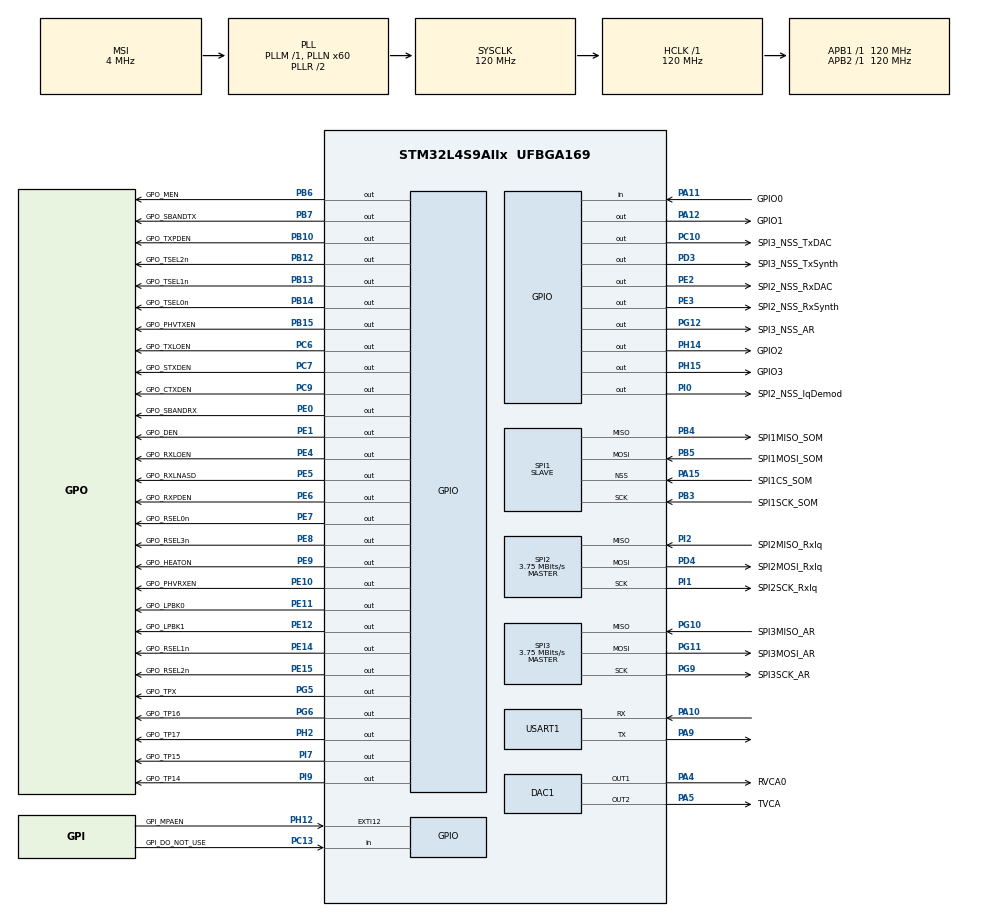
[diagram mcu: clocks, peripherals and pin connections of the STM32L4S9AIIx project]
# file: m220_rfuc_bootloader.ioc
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DAC1.DAC_Channel-DAC_OUT2=DAC_CHANNEL_2
Mcu.Family=STM32L4
Mcu.Name=STM32L4S9AIIx
Mcu.Package=UFBGA169
NVIC.EXTI15_10_IRQn=true\:5\:0\:true\:false\:true\:true\:true\:false
NVIC.FPU_IRQn=true\:7\:0\:true\:false\:true\:true\:false\:true
NVIC.PriorityGroup=NVIC_PRIORITYGROUP_4
NVIC.SPI2_IRQn=true\:7\:0\:true\:false\:true\:true\:true\:true
NVIC.SPI3_IRQn=true\:7\:0\:true\:false\:true\:true\:true\:true
NVIC.TIM3_IRQn=true\:15\:0\:false\:false\:true\:false\:true\:true
NVIC.TimeBase=TIM3_IRQn
NVIC.TimeBaseIP=TIM3
PA0.GPIO_Label=TXRPWR
PA0.Signal=ADCx_IN5
PA10.Mode=Asynchronous
PA10.Signal=USART1_RX
PA11.GPIO_Label=GPIO0
PA11.Signal=GPIO_Input
PA12.GPIO_Label=GPIO1
PA12.Signal=GPIO_Output
PA13\ (JTMS/SWDIO).GPIO_Label=SWDIO
PA13\ (JTMS/SWDIO).Mode=Serial_Wire
PA13\ (JTMS/SWDIO).Signal=SYS_JTMS-SWDIO
PA14\ (JTCK/SWCLK).GPIO_Label=SWDCLK
PA14\ (JTCK/SWCLK).Mode=Serial_Wire
PA14\ (JTCK/SWCLK).Signal=SYS_JTCK-SWCLK
PA15\ (JTDI).GPIO_Label=SPI1CS_SOM
PA15\ (JTDI).Mode=NSS_Signal_Hard_Input
PA15\ (JTDI).Signal=SPI1_NSS
PA2.GPIO_Label=CRTNSENSE
PA2.Signal=ADCx_IN7
PA4.GPIO_Label=RVCA0
PA4.Signal=COMP_DAC11_group
PA5.GPIO_Label=TVCA
PA5.Signal=COMP_DAC12_group
PA9.Mode=Asynchronous
PA9.Signal=USART1_TX
PB10.GPIO_Label=GPO_TXPDEN
PB10.PinState=GPIO_PIN_RESET
PB10.Signal=GPIO_Output
PB12.GPIO_Label=GPO_TSEL2n
PB12.PinState=GPIO_PIN_SET
PB12.Signal=GPIO_Output
PB13.GPIO_Label=GPO_TSEL1n
PB13.PinState=GPIO_PIN_RESET
PB13.Signal=GPIO_Output
PB14.GPIO_Label=GPO_TSEL0n
PB14.PinState=GPIO_PIN_SET
PB14.Signal=GPIO_Output
PB15.GPIO_Label=GPO_PHVTXEN
PB15.Signal=GPIO_Output
PB3\ (JTDO/TRACESWO).GPIO_Label=SPI1SCK_SOM
PB3\ (JTDO/TRACESWO).Mode=Full_Duplex_Slave
PB3\ (JTDO/TRACESWO).Signal=SPI1_SCK
PB4\ (NJTRST).GPIO_Label=SPI1MISO_SOM
PB4\ (NJTRST).Mode=Full_Duplex_Slave
PB4\ (NJTRST).Signal=SPI1_MISO
PB5.GPIO_Label=SPI1MOSI_SOM
PB5.Mode=Full_Duplex_Slave
PB5.Signal=SPI1_MOSI
PB6.GPIO_Label=GPO_MEN
PB6.Signal=GPIO_Output
PB7.GPIO_Label=GPO_SBANDTX
PB7.PinState=GPIO_PIN_SET
PB7.Signal=GPIO_Output
PC0.GPIO_Label=DMDTMP
PC0.Signal=ADCx_IN1
PC10.GPIO_Label=SPI3_NSS_TxDAC
PC10.PinState=GPIO_PIN_SET
PC10.Signal=GPIO_Output
PC13.GPIO_Label=GPI_DO_NOT_USE
PC13.Signal=GPIO_Input
PC2.GPIO_Label=P28VPA
PC2.Signal=ADCx_IN3
PC6.GPIO_Label=GPO_TXLOEN
PC6.Signal=GPIO_Output
PC7.GPIO_Label=GPO_STXDEN
PC7.Signal=GPIO_Output
PC9.GPIO_Label=GPO_CTXDEN
PC9.Signal=GPIO_Output
PD3.GPIO_Label=SPI3_NSS_TxSynth
PD3.PinState=GPIO_PIN_SET
PD3.Signal=GPIO_Output
PD4.GPIO_Label=SPI2MOSI_RxIq
PD4.Mode=Full_Duplex_Master
PD4.Signal=SPI2_MOSI
PE0.GPIO_Label=GPO_SBANDRX
PE0.PinState=GPIO_PIN_SET
PE0.Signal=GPIO_Output
PE1.GPIO_Label=GPO_DEN
PE1.Signal=GPIO_Output
PE10.GPIO_Label=GPO_PHVRXEN
PE10.Signal=GPIO_Output
PE11.GPIO_Label=GPO_LPBK0
PE11.PinState=GPIO_PIN_SET
PE11.Signal=GPIO_Output
PE12.GPIO_Label=GPO_LPBK1
PE12.Signal=GPIO_Output
PE14.GPIO_Label=GPO_RSEL1n
PE14.PinState=GPIO_PIN_RESET
PE14.Signal=GPIO_Output
PE15.GPIO_Label=GPO_RSEL2n
PE15.PinState=GPIO_PIN_SET
PE15.Signal=GPIO_Output
PE2.GPIO_Label=SPI2_NSS_RxDAC
PE2.PinState=GPIO_PIN_SET
PE2.Signal=GPIO_Output
PE3.GPIO_Label=SPI2_NSS_RxSynth
PE3.PinState=GPIO_PIN_SET
PE3.Signal=GPIO_Output
PE4.GPIO_Label=GPO_RXLOEN
PE4.Signal=GPIO_Output
PE5.GPIO_Label=GPO_RXLNASD
PE5.PinState=GPIO_PIN_SET
PE5.Signal=GPIO_Output
PE6.GPIO_Label=GPO_RXPDEN
PE6.PinState=GPIO_PIN_SET
PE6.Signal=GPIO_Output
PE7.GPIO_Label=GPO_RSEL0n
PE7.PinState=GPIO_PIN_SET
PE7.Signal=GPIO_Output
PE8.GPIO_Label=GPO_RSEL3n
PE8.PinState=GPIO_PIN_SET
PE8.Signal=GPIO_Output
PE9.GPIO_Label=GPO_HEATON
PE9.Signal=GPIO_Output
PG10.GPIO_Label=SPI3MISO_AR
PG10.Mode=Full_Duplex_Master
PG10.Signal=SPI3_MISO
PG11.GPIO_Label=SPI3MOSI_AR
PG11.Mode=Full_Duplex_Master
PG11.Signal=SPI3_MOSI
PG12.GPIO_Label=SPI3_NSS_AR
PG12.PinState=GPIO_PIN_SET
PG12.Signal=GPIO_Output
PG5.GPIO_Label=GPO_TPX
PG5.Signal=GPIO_Output
PG6.GPIO_Label=GPO_TP16
PG6.Signal=GPIO_Output
PG8.GPIO_Label=I2C3SDA_EEPROM
PG8.GPIO_Pu=GPIO_PULLUP
PG8.Signal=I2C3_SDA
PG9.GPIO_Label=SPI3SCK_AR
PG9.Mode=Full_Duplex_Master
PG9.Signal=SPI3_SCK
PH12.GPIO_Label=GPI_MPAEN
PH12.GPIO_ModeDefaultEXTI=GPIO_MODE_IT_RISING_FALLING
PH12.Signal=GPXTI12
PH14.GPIO_Label=GPIO2
PH14.PinState=GPIO_PIN_RESET
PH14.Signal=GPIO_Output
PH15.GPIO_Label=GPIO3
PH15.Signal=GPIO_Output
PH2.GPIO_Label=GPO_TP17
PH2.Signal=GPIO_Output
PI0.GPIO_Label=SPI2_NSS_IqDemod
PI0.PinState=GPIO_PIN_SET
PI0.Signal=GPIO_Output
PI1.GPIO_Label=SPI2SCK_RxIq
PI1.Mode=Full_Duplex_Master
PI1.Signal=SPI2_SCK
PI2.GPIO_Label=SPI2MISO_RxIq
PI2.Mode=Full_Duplex_Master
PI2.Signal=SPI2_MISO
PI7.GPIO_Label=GPO_TP15
PI7.Signal=GPIO_Output
PI9.GPIO_Label=GPO_TP14
PI9.Signal=GPIO_Output
ProjectManager.HeapSize=0x200
ProjectManager.StackSize=0x400
ProjectManager.TargetToolchain=STM32CubeIDE
RCC.ADCFreq_Value=32000000
RCC.AHBFreq_Value=120000000
RCC.APB1Freq_Value=120000000
RCC.APB1TimFreq_Value=120000000
RCC.APB2Freq_Value=120000000
RCC.APB2TimFreq_Value=120000000
RCC.CortexFreq_Value=120000000
RCC.HCLKFreq_Value=120000000
RCC.HSE_VALUE=8000000
RCC.HSI48_VALUE=48000000
RCC.HSI_VALUE=16000000
RCC.LSE_VALUE=32768
RCC.MSI_VALUE=4000000
RCC.PLLN=60
RCC.PLLSAI1N=16
RCC.SYSCLKFreq_VALUE=120000000
RCC.SYSCLKSource=RCC_SYSCLKSOURCE_PLLCLK
RCC.USBFreq_Value=32000000
RCC.VCOOutputFreq_Value=240000000
SH.ADCx_IN1.0=ADC1_IN1
SH.ADCx_IN3.0=ADC1_IN3
SH.ADCx_IN5.0=ADC1_IN5
SH.ADCx_IN7.0=ADC1_IN7
SH.COMP_DAC11_group.0=DAC1_OUT1,DAC_OUT1
SH.COMP_DAC12_group.0=DAC1_OUT2,DAC_OUT2
SPI1.CLKPhase=SPI_PHASE_1EDGE
SPI1.CLKPolarity=SPI_POLARITY_LOW
SPI1.DataSize=SPI_DATASIZE_8BIT
SPI1.Direction=SPI_DIRECTION_2LINES
SPI1.Mode=SPI_MODE_SLAVE
SPI1.VirtualNSS=VM_NSSHARD
SPI1.VirtualType=VM_SLAVE
SPI2.BaudRatePrescaler=SPI_BAUDRATEPRESCALER_32
SPI2.CalculateBaudRate=3.75 MBits/s
SPI2.DataSize=SPI_DATASIZE_8BIT
SPI2.Direction=SPI_DIRECTION_2LINES
SPI2.Mode=SPI_MODE_MASTER
SPI2.NSSPMode=SPI_NSS_PULSE_DISABLE
SPI2.VirtualType=VM_MASTER
SPI3.BaudRatePrescaler=SPI_BAUDRATEPRESCALER_32
SPI3.CLKPhase=SPI_PHASE_1EDGE
SPI3.CLKPolarity=SPI_POLARITY_LOW
SPI3.CalculateBaudRate=3.75 MBits/s
SPI3.DataSize=SPI_DATASIZE_8BIT
SPI3.Direction=SPI_DIRECTION_2LINES
SPI3.Mode=SPI_MODE_MASTER
SPI3.NSSPMode=SPI_NSS_PULSE_DISABLE
SPI3.VirtualType=VM_MASTER
SYS.VoltageScaling=SYSCFG_VREFBUF_VOLTAGE_SCALE1
USART1.FIFOMode=FIFOMODE_ENABLE
USART1.VirtualMode-Asynchronous=VM_ASYNC
VP_SYS_VS_tim3.Mode=TIM3
VREF+.Mode=InternalMode
VREF+.Signal=VREFBUF_OUT
board=custom

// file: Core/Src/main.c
/* USER CODE BEGIN Header */
/**
  ******************************************************************************
  * @file           : main.c
  * @brief          : Main program body
  ******************************************************************************
  */
/* USER CODE END Header */
#include "main.h"

/* USER CODE BEGIN Includes */
#include "stdbool.h"
#include "app_openbootloader.h"
#include "interfaces_conf.h"
#include "spi_interface.h"
#include "stm32l4xx_it.h"
#include "openbl_spi_cmd.h"
#include "stdarg.h"
#include "string.h"
#include "stdio.h"
/* USER CODE END Includes */

DAC_HandleTypeDef hdac1;

SPI_HandleTypeDef hspi1;
SPI_HandleTypeDef hspi2;
SPI_HandleTypeDef hspi3;

UART_HandleTypeDef huart1;

/* USER CODE BEGIN PV */

extern TIM_HandleTypeDef htim3;

/* USER CODE END PV */

void SystemClock_Config(void);
static void MX_GPIO_Init(void);
static void MX_DAC1_Init(void);
static void MX_SPI1_Init(void);
static void MX_SPI2_Init(void);
static void MX_SPI3_Init(void);
static void MX_USART1_UART_Init(void);
/* USER CODE BEGIN PFP */

void PRINTF(const char *format, ...);
void SetRFBoardToSafeState(void);
uint32_t mVTo12bitDigitalOutput(uint32_t milliVolt);
uint32_t mVTo12bitDigitalOutput_Halfx(uint32_t milliVolt);
void Spi2_UpdateRxDac(ExternDacChannel_e Channel, uint16_t DacValue);
void Spi3_UpdateTxDac(ExternDacChannel_e Channel, uint16_t DacValue);

/* USER CODE END PFP */

int main(void)
{

  /* MCU Configuration--------------------------------------------------------*/

  /* Reset of all peripherals, Initializes the Flash interface and the Systick. */
  HAL_Init();

  /* Configure the system clock */
  SystemClock_Config();

  /* Initialize all configured peripherals */
  MX_GPIO_Init();
  MX_DAC1_Init();
  MX_SPI1_Init();
  MX_SPI2_Init();
  MX_SPI3_Init();
  MX_USART1_UART_Init();
  /* USER CODE BEGIN 2 */

  // Initialize RF Board Hardware to Safe State
  SetRFBoardToSafeState();

  /* Initialize the OpenBootloader */
  OpenBootloader_Init();

  PRINTF("\033[2J"); // Clear the terminal
  PRINTF("\033[s\033[1;1H"); // Save cursor position, return to top left corner
  PRINTF("Running Bootloader Version %d.%d ...\n\r", ((OPENBL_SPI_VERSION >> 4) & 0x0F), (OPENBL_SPI_VERSION & 0x0F));

  // Alert SOM that the RFB is in a safe state and we're ready to bootload
  HAL_GPIO_WritePin(GPIO1_GPIO_Port, GPIO1_Pin, GPIO_PIN_SET);

  while(OPENBL_SPI_ReadByte() != 0x5AU){} // Blocking call -> Wait for SOM to be ready

  SPI_SetSpiDetected(1U);
  OPENBL_SPI_SendByte(SYNC_BYTE); // Send synchronization byte
  OPENBL_SPI_SendAcknowledgeByte(ACK_BYTE); // Send acknowledgment
  OPENBL_InterfaceDetection();
  HAL_GPIO_WritePin(GPIO1_GPIO_Port, GPIO1_Pin, GPIO_PIN_RESET); // Deassert busy flag until needed again
  /* USER CODE END 2 */

  /* Infinite loop */
  /* USER CODE BEGIN WHILE */
  while (1){
    // Process the commands from the detected interface
    OPENBL_CommandProcess();
    /* USER CODE END WHILE */

  }
}

void SystemClock_Config(void)
{
  RCC_OscInitTypeDef RCC_OscInitStruct = {0};
  RCC_ClkInitTypeDef RCC_ClkInitStruct = {0};

  /** Configure the main internal regulator output voltage
  */
  if (HAL_PWREx_ControlVoltageScaling(PWR_REGULATOR_VOLTAGE_SCALE1_BOOST) != HAL_OK)
  {
    Error_Handler();
  }

  /** Initializes the RCC Oscillators according to the specified parameters
  * in the RCC_OscInitTypeDef structure.
  */
  RCC_OscInitStruct.OscillatorType = RCC_OSCILLATORTYPE_MSI;
  RCC_OscInitStruct.MSIState = RCC_MSI_ON;
  RCC_OscInitStruct.MSICalibrationValue = 0;
  RCC_OscInitStruct.MSIClockRange = RCC_MSIRANGE_6;
  RCC_OscInitStruct.PLL.PLLState = RCC_PLL_ON;
  RCC_OscInitStruct.PLL.PLLSource = RCC_PLLSOURCE_MSI;
  RCC_OscInitStruct.PLL.PLLM = 1;
  RCC_OscInitStruct.PLL.PLLN = 60;
  RCC_OscInitStruct.PLL.PLLP = RCC_PLLP_DIV2;
  RCC_OscInitStruct.PLL.PLLQ = RCC_PLLQ_DIV2;
  RCC_OscInitStruct.PLL.PLLR = RCC_PLLR_DIV2;
  if (HAL_RCC_OscConfig(&RCC_OscInitStruct) != HAL_OK)
  {
    Error_Handler();
  }

  /** Initializes the CPU, AHB and APB buses clocks
  */
  RCC_ClkInitStruct.ClockType = RCC_CLOCKTYPE_HCLK|RCC_CLOCKTYPE_SYSCLK
                              |RCC_CLOCKTYPE_PCLK1|RCC_CLOCKTYPE_PCLK2;
  RCC_ClkInitStruct.SYSCLKSource = RCC_SYSCLKSOURCE_PLLCLK;
  RCC_ClkInitStruct.AHBCLKDivider = RCC_SYSCLK_DIV1;
  RCC_ClkInitStruct.APB1CLKDivider = RCC_HCLK_DIV1;
  RCC_ClkInitStruct.APB2CLKDivider = RCC_HCLK_DIV1;

  if (HAL_RCC_ClockConfig(&RCC_ClkInitStruct, FLASH_LATENCY_5) != HAL_OK)
  {
    Error_Handler();
  }
}

static void MX_DAC1_Init(void)
{

  DAC_ChannelConfTypeDef sConfig = {0};

  /** DAC Initialization
  */
  hdac1.Instance = DAC1;
  if (HAL_DAC_Init(&hdac1) != HAL_OK)
  {
    Error_Handler();
  }

  /** DAC channel OUT1 config
  */
  sConfig.DAC_SampleAndHold = DAC_SAMPLEANDHOLD_DISABLE;
  sConfig.DAC_Trigger = DAC_TRIGGER_NONE;
  sConfig.DAC_HighFrequency = DAC_HIGH_FREQUENCY_INTERFACE_MODE_ABOVE_80MHZ;
  sConfig.DAC_OutputBuffer = DAC_OUTPUTBUFFER_ENABLE;
  sConfig.DAC_ConnectOnChipPeripheral = DAC_CHIPCONNECT_DISABLE;
  sConfig.DAC_UserTrimming = DAC_TRIMMING_FACTORY;
  if (HAL_DAC_ConfigChannel(&hdac1, &sConfig, DAC_CHANNEL_1) != HAL_OK)
  {
    Error_Handler();
  }

  /** DAC channel OUT2 config
  */
  if (HAL_DAC_ConfigChannel(&hdac1, &sConfig, DAC_CHANNEL_2) != HAL_OK)
  {
    Error_Handler();
  }

}

static void MX_SPI1_Init(void)
{

  /* SPI1 parameter configuration*/
  hspi1.Instance = SPI1;
  hspi1.Init.Mode = SPI_MODE_SLAVE;
  hspi1.Init.Direction = SPI_DIRECTION_2LINES;
  hspi1.Init.DataSize = SPI_DATASIZE_8BIT;
  hspi1.Init.CLKPolarity = SPI_POLARITY_LOW;
  hspi1.Init.CLKPhase = SPI_PHASE_1EDGE;
  hspi1.Init.NSS = SPI_NSS_HARD_INPUT;
  hspi1.Init.FirstBit = SPI_FIRSTBIT_MSB;
  hspi1.Init.TIMode = SPI_TIMODE_DISABLE;
  hspi1.Init.CRCCalculation = SPI_CRCCALCULATION_DISABLE;
  hspi1.Init.CRCPolynomial = 7;
  hspi1.Init.CRCLength = SPI_CRC_LENGTH_DATASIZE;
  hspi1.Init.NSSPMode = SPI_NSS_PULSE_DISABLE;
  if (HAL_SPI_Init(&hspi1) != HAL_OK)
  {
    Error_Handler();
  }

}

static void MX_SPI2_Init(void)
{

  /* SPI2 parameter configuration*/
  hspi2.Instance = SPI2;
  hspi2.Init.Mode = SPI_MODE_MASTER;
  hspi2.Init.Direction = SPI_DIRECTION_2LINES;
  hspi2.Init.DataSize = SPI_DATASIZE_8BIT;
  hspi2.Init.CLKPolarity = SPI_POLARITY_LOW;
  hspi2.Init.CLKPhase = SPI_PHASE_1EDGE;
  hspi2.Init.NSS = SPI_NSS_SOFT;
  hspi2.Init.BaudRatePrescaler = SPI_BAUDRATEPRESCALER_32;
  hspi2.Init.FirstBit = SPI_FIRSTBIT_MSB;
  hspi2.Init.TIMode = SPI_TIMODE_DISABLE;
  hspi2.Init.CRCCalculation = SPI_CRCCALCULATION_DISABLE;
  hspi2.Init.CRCPolynomial = 7;
  hspi2.Init.CRCLength = SPI_CRC_LENGTH_DATASIZE;
  hspi2.Init.NSSPMode = SPI_NSS_PULSE_DISABLE;
  if (HAL_SPI_Init(&hspi2) != HAL_OK)
  {
    Error_Handler();
  }

}

static void MX_SPI3_Init(void)
{

  /* SPI3 parameter configuration*/
  hspi3.Instance = SPI3;
  hspi3.Init.Mode = SPI_MODE_MASTER;
  hspi3.Init.Direction = SPI_DIRECTION_2LINES;
  hspi3.Init.DataSize = SPI_DATASIZE_8BIT;
  hspi3.Init.CLKPolarity = SPI_POLARITY_LOW;
  hspi3.Init.CLKPhase = SPI_PHASE_1EDGE;
  hspi3.Init.NSS = SPI_NSS_SOFT;
  hspi3.Init.BaudRatePrescaler = SPI_BAUDRATEPRESCALER_32;
  hspi3.Init.FirstBit = SPI_FIRSTBIT_MSB;
  hspi3.Init.TIMode = SPI_TIMODE_DISABLE;
  hspi3.Init.CRCCalculation = SPI_CRCCALCULATION_DISABLE;
  hspi3.Init.CRCPolynomial = 7;
  hspi3.Init.CRCLength = SPI_CRC_LENGTH_DATASIZE;
  hspi3.Init.NSSPMode = SPI_NSS_PULSE_DISABLE;
  if (HAL_SPI_Init(&hspi3) != HAL_OK)
  {
    Error_Handler();
  }

}

static void MX_USART1_UART_Init(void)
{

  huart1.Instance = USART1;
  huart1.Init.BaudRate = 115200;
  huart1.Init.WordLength = UART_WORDLENGTH_8B;
  huart1.Init.StopBits = UART_STOPBITS_1;
  huart1.Init.Parity = UART_PARITY_NONE;
  huart1.Init.Mode = UART_MODE_TX_RX;
  huart1.Init.HwFlowCtl = UART_HWCONTROL_NONE;
  huart1.Init.OverSampling = UART_OVERSAMPLING_16;
  huart1.Init.OneBitSampling = UART_ONE_BIT_SAMPLE_DISABLE;
  huart1.Init.ClockPrescaler = UART_PRESCALER_DIV1;
  huart1.AdvancedInit.AdvFeatureInit = UART_ADVFEATURE_NO_INIT;
  if (HAL_UART_Init(&huart1) != HAL_OK)
  {
    Error_Handler();
  }
  if (HAL_UARTEx_SetTxFifoThreshold(&huart1, UART_TXFIFO_THRESHOLD_1_8) != HAL_OK)
  {
    Error_Handler();
  }
  if (HAL_UARTEx_SetRxFifoThreshold(&huart1, UART_RXFIFO_THRESHOLD_1_8) != HAL_OK)
  {
    Error_Handler();
  }
  if (HAL_UARTEx_EnableFifoMode(&huart1) != HAL_OK)
  {
    Error_Handler();
  }

}

static void MX_GPIO_Init(void)
{
  GPIO_InitTypeDef GPIO_InitStruct = {0};

  /* GPIO Ports Clock Enable */
  __HAL_RCC_GPIOH_CLK_ENABLE();
  __HAL_RCC_GPIOE_CLK_ENABLE();
  __HAL_RCC_GPIOB_CLK_ENABLE();
  __HAL_RCC_GPIOA_CLK_ENABLE();
  __HAL_RCC_GPIOI_CLK_ENABLE();
  __HAL_RCC_GPIOG_CLK_ENABLE();
  HAL_PWREx_EnableVddIO2();
  __HAL_RCC_GPIOD_CLK_ENABLE();
  __HAL_RCC_GPIOC_CLK_ENABLE();

  /*Configure GPIO pin Output Level */
  HAL_GPIO_WritePin(GPIOH, GPO_TP17_Pin|GPIO2_Pin|GPIO3_Pin, GPIO_PIN_RESET);

  /*Configure GPIO pin Output Level */
  HAL_GPIO_WritePin(GPIOE, GPO_SBANDRX_Pin|SPI2_NSS_RxSynth_Pin|SPI2_NSS_RxDAC_Pin|GPO_RXPDEN_Pin
                          |GPO_RXLNASD_Pin|GPO_RSEL2n_Pin|GPO_RSEL3n_Pin|GPO_RSEL0n_Pin
                          |GPO_LPBK0_Pin, GPIO_PIN_SET);

  /*Configure GPIO pin Output Level */
  HAL_GPIO_WritePin(SPI2_NSS_IqDemod_GPIO_Port, SPI2_NSS_IqDemod_Pin, GPIO_PIN_SET);

  /*Configure GPIO pin Output Level */
  HAL_GPIO_WritePin(GPIOI, GPO_TP14_Pin|GPO_TP15_Pin, GPIO_PIN_RESET);

  /*Configure GPIO pin Output Level */
  HAL_GPIO_WritePin(GPIOE, GPO_DEN_Pin|GPO_RXLOEN_Pin|GPO_PHVRXEN_Pin|GPO_HEATON_Pin
                          |GPO_RSEL1n_Pin|GPO_LPBK1_Pin, GPIO_PIN_RESET);

  /*Configure GPIO pin Output Level */
  HAL_GPIO_WritePin(GPIOB, GPO_MEN_Pin|GPO_PHVTXEN_Pin|GPO_TXPDEN_Pin|GPO_TSEL1n_Pin, GPIO_PIN_RESET);

  /*Configure GPIO pin Output Level */
  HAL_GPIO_WritePin(GPIOB, GPO_SBANDTX_Pin|GPO_TSEL0n_Pin|GPO_TSEL2n_Pin, GPIO_PIN_SET);

  /*Configure GPIO pin Output Level */
  HAL_GPIO_WritePin(SPI3_NSS_TxDAC_GPIO_Port, SPI3_NSS_TxDAC_Pin, GPIO_PIN_SET);

  /*Configure GPIO pin Output Level */
  HAL_GPIO_WritePin(GPIO1_GPIO_Port, GPIO1_Pin, GPIO_PIN_RESET);

  /*Configure GPIO pin Output Level */
  HAL_GPIO_WritePin(SPI3_NSS_TxSynth_GPIO_Port, SPI3_NSS_TxSynth_Pin, GPIO_PIN_SET);

  /*Configure GPIO pin Output Level */
  HAL_GPIO_WritePin(SPI3_NSS_AR_GPIO_Port, SPI3_NSS_AR_Pin, GPIO_PIN_SET);

  /*Configure GPIO pin Output Level */
  HAL_GPIO_WritePin(GPIOC, GPO_TXLOEN_Pin|GPO_STXDEN_Pin|GPO_CTXDEN_Pin, GPIO_PIN_RESET);

  /*Configure GPIO pin Output Level */
  HAL_GPIO_WritePin(GPIOG, GPO_TPX_Pin|GPO_TP16_Pin, GPIO_PIN_RESET);

  /*Configure GPIO pins : GPO_TP17_Pin GPIO2_Pin GPIO3_Pin */
  GPIO_InitStruct.Pin = GPO_TP17_Pin|GPIO2_Pin|GPIO3_Pin;
  GPIO_InitStruct.Mode = GPIO_MODE_OUTPUT_PP;
  GPIO_InitStruct.Pull = GPIO_NOPULL;
  GPIO_InitStruct.Speed = GPIO_SPEED_FREQ_LOW;
  HAL_GPIO_Init(GPIOH, &GPIO_InitStruct);

  /*Configure GPIO pins : GPO_SBANDRX_Pin GPO_DEN_Pin GPO_RXLOEN_Pin SPI2_NSS_RxSynth_Pin
                           SPI2_NSS_RxDAC_Pin GPO_RXPDEN_Pin GPO_RXLNASD_Pin GPO_PHVRXEN_Pin
                           GPO_HEATON_Pin GPO_RSEL2n_Pin GPO_RSEL3n_Pin GPO_RSEL1n_Pin
                           GPO_RSEL0n_Pin GPO_LPBK1_Pin GPO_LPBK0_Pin */
  GPIO_InitStruct.Pin = GPO_SBANDRX_Pin|GPO_DEN_Pin|GPO_RXLOEN_Pin|SPI2_NSS_RxSynth_Pin
                          |SPI2_NSS_RxDAC_Pin|GPO_RXPDEN_Pin|GPO_RXLNASD_Pin|GPO_PHVRXEN_Pin
                          |GPO_HEATON_Pin|GPO_RSEL2n_Pin|GPO_RSEL3n_Pin|GPO_RSEL1n_Pin
                          |GPO_RSEL0n_Pin|GPO_LPBK1_Pin|GPO_LPBK0_Pin;
  GPIO_InitStruct.Mode = GPIO_MODE_OUTPUT_PP;
  GPIO_InitStruct.Pull = GPIO_NOPULL;
  GPIO_InitStruct.Speed = GPIO_SPEED_FREQ_LOW;
  HAL_GPIO_Init(GPIOE, &GPIO_InitStruct);

  /*Configure GPIO pins : SPI2_NSS_IqDemod_Pin GPO_TP14_Pin GPO_TP15_Pin */
  GPIO_InitStruct.Pin = SPI2_NSS_IqDemod_Pin|GPO_TP14_Pin|GPO_TP15_Pin;
  GPIO_InitStruct.Mode = GPIO_MODE_OUTPUT_PP;
  GPIO_InitStruct.Pull = GPIO_NOPULL;
  GPIO_InitStruct.Speed = GPIO_SPEED_FREQ_LOW;
  HAL_GPIO_Init(GPIOI, &GPIO_InitStruct);

  /*Configure GPIO pin : GPI_MPAEN_Pin */
  GPIO_InitStruct.Pin = GPI_MPAEN_Pin;
  GPIO_InitStruct.Mode = GPIO_MODE_IT_RISING_FALLING;
  GPIO_InitStruct.Pull = GPIO_NOPULL;
  HAL_GPIO_Init(GPI_MPAEN_GPIO_Port, &GPIO_InitStruct);

  /*Configure GPIO pins : GPO_MEN_Pin GPO_SBANDTX_Pin GPO_PHVTXEN_Pin GPO_TSEL0n_Pin
                           GPO_TXPDEN_Pin GPO_TSEL2n_Pin GPO_TSEL1n_Pin */
  GPIO_InitStruct.Pin = GPO_MEN_Pin|GPO_SBANDTX_Pin|GPO_PHVTXEN_Pin|GPO_TSEL0n_Pin
                          |GPO_TXPDEN_Pin|GPO_TSEL2n_Pin|GPO_TSEL1n_Pin;
  GPIO_InitStruct.Mode = GPIO_MODE_OUTPUT_PP;
  GPIO_InitStruct.Pull = GPIO_NOPULL;
  GPIO_InitStruct.Speed = GPIO_SPEED_FREQ_LOW;
  HAL_GPIO_Init(GPIOB, &GPIO_InitStruct);

  /*Configure GPIO pins : SPI3_NSS_TxDAC_Pin GPO_TXLOEN_Pin GPO_STXDEN_Pin GPO_CTXDEN_Pin */
  GPIO_InitStruct.Pin = SPI3_NSS_TxDAC_Pin|GPO_TXLOEN_Pin|GPO_STXDEN_Pin|GPO_CTXDEN_Pin;
  GPIO_InitStruct.Mode = GPIO_MODE_OUTPUT_PP;
  GPIO_InitStruct.Pull = GPIO_NOPULL;
  GPIO_InitStruct.Speed = GPIO_SPEED_FREQ_LOW;
  HAL_GPIO_Init(GPIOC, &GPIO_InitStruct);

  /*Configure GPIO pin : GPIO1_Pin */
  GPIO_InitStruct.Pin = GPIO1_Pin;
  GPIO_InitStruct.Mode = GPIO_MODE_OUTPUT_PP;
  GPIO_InitStruct.Pull = GPIO_NOPULL;
  GPIO_InitStruct.Speed = GPIO_SPEED_FREQ_LOW;
  HAL_GPIO_Init(GPIO1_GPIO_Port, &GPIO_InitStruct);

  /*Configure GPIO pin : GPI_DO_NOT_USE_Pin */
  GPIO_InitStruct.Pin = GPI_DO_NOT_USE_Pin;
  GPIO_InitStruct.Mode = GPIO_MODE_INPUT;
  GPIO_InitStruct.Pull = GPIO_NOPULL;
  HAL_GPIO_Init(GPI_DO_NOT_USE_GPIO_Port, &GPIO_InitStruct);

  /*Configure GPIO pin : SPI3_NSS_TxSynth_Pin */
  GPIO_InitStruct.Pin = SPI3_NSS_TxSynth_Pin;
  GPIO_InitStruct.Mode = GPIO_MODE_OUTPUT_PP;
  GPIO_InitStruct.Pull = GPIO_NOPULL;
  GPIO_InitStruct.Speed = GPIO_SPEED_FREQ_LOW;
  HAL_GPIO_Init(SPI3_NSS_TxSynth_GPIO_Port, &GPIO_InitStruct);

  /*Configure GPIO pin : GPIO0_Pin */
  GPIO_InitStruct.Pin = GPIO0_Pin;
  GPIO_InitStruct.Mode = GPIO_MODE_INPUT;
  GPIO_InitStruct.Pull = GPIO_NOPULL;
  HAL_GPIO_Init(GPIO0_GPIO_Port, &GPIO_InitStruct);

  /*Configure GPIO pins : SPI3_NSS_AR_Pin GPO_TPX_Pin GPO_TP16_Pin */
  GPIO_InitStruct.Pin = SPI3_NSS_AR_Pin|GPO_TPX_Pin|GPO_TP16_Pin;
  GPIO_InitStruct.Mode = GPIO_MODE_OUTPUT_PP;
  GPIO_InitStruct.Pull = GPIO_NOPULL;
  GPIO_InitStruct.Speed = GPIO_SPEED_FREQ_LOW;
  HAL_GPIO_Init(GPIOG, &GPIO_InitStruct);

  /*Configure GPIO pin : I2C3SDA_EEPROM_Pin */
  GPIO_InitStruct.Pin = I2C3SDA_EEPROM_Pin;
  GPIO_InitStruct.Mode = GPIO_MODE_AF_OD;
  GPIO_InitStruct.Pull = GPIO_PULLUP;
  GPIO_InitStruct.Speed = GPIO_SPEED_FREQ_VERY_HIGH;
  GPIO_InitStruct.Alternate = GPIO_AF4_I2C3;
  HAL_GPIO_Init(I2C3SDA_EEPROM_GPIO_Port, &GPIO_InitStruct);

  /*Configure GPIO pins : DMDTMP_Pin P28VPA_Pin */
  GPIO_InitStruct.Pin = DMDTMP_Pin|P28VPA_Pin;
  GPIO_InitStruct.Mode = GPIO_MODE_ANALOG_ADC_CONTROL;
  GPIO_InitStruct.Pull = GPIO_NOPULL;
  HAL_GPIO_Init(GPIOC, &GPIO_InitStruct);

  /*Configure GPIO pins : TXRPWR_Pin CRTNSENSE_Pin */
  GPIO_InitStruct.Pin = TXRPWR_Pin|CRTNSENSE_Pin;
  GPIO_InitStruct.Mode = GPIO_MODE_ANALOG_ADC_CONTROL;
  GPIO_InitStruct.Pull = GPIO_NOPULL;
  HAL_GPIO_Init(GPIOA, &GPIO_InitStruct);

  /* EXTI interrupt init*/
  HAL_NVIC_SetPriority(EXTI15_10_IRQn, 5, 0);

}

/* USER CODE BEGIN 4 */

void PRINTF(const char *format, ...){
	va_list ap;
	char bufferLocal[255]={0}; // print up to 254 characters per PRINTF

	va_start(ap, format);
	vsnprintf((char *)bufferLocal, 255, format, ap);
	va_end(ap);

	HAL_UART_Transmit(&huart1, (uint8_t *)bufferLocal, strlen(bufferLocal), 100);
}

void SetRFBoardToSafeState(void){
	char DeviceData[4];

	// Initialize and Enable RFuC DACs
	HAL_DAC_SetValue(&hdac1, DAC_CHANNEL_1, DAC_ALIGN_12B_R, mVTo12bitDigitalOutput(2000)); // initialize RVCA0 to 2V
	HAL_DAC_SetValue(&hdac1, DAC_CHANNEL_2, DAC_ALIGN_12B_R, mVTo12bitDigitalOutput(2000)); // initialize TVCA to 26mV
	HAL_DAC_Start(&hdac1, DAC_CHANNEL_1); // RVCA0
	HAL_DAC_Start(&hdac1, DAC_CHANNEL_2); // TVCA

	// Enable the External Rx DAC's internal 2.5V reference voltage
	DeviceData[0] = 0x08;
	DeviceData[1] = 0x00;
	DeviceData[2] = 0x00;
	DeviceData[3] = 0x01;
	HAL_GPIO_WritePin(SPI2_NSS_RxDAC_GPIO_Port, SPI2_NSS_RxDAC_Pin, GPIO_PIN_RESET); // SPI2 CS -> RxDAC
	HAL_SPI_Transmit(&hspi2, (uint8_t *)DeviceData, 4, 100);
	HAL_GPIO_WritePin(SPI2_NSS_RxDAC_GPIO_Port, SPI2_NSS_RxDAC_Pin, GPIO_PIN_SET); // SPI2 CS -> RxDAC
	HAL_Delay(1); // Delay in milliseconds

	// Initialize External RxDAC Channels
	Spi2_UpdateRxDac(DAC_CHANNEL_A, mVTo12bitDigitalOutput_Halfx(5000)); // Init Channel A (TP18) to 5000mV
	//Spi2_UpdateRxDac(DAC_CHANNEL_B, mVTo12bitDigitalOutput_Halfx(0)); // Init Channel B (TP22) to 0mV
	Spi2_UpdateRxDac(DAC_CHANNEL_C, mVTo12bitDigitalOutput_Halfx(0)); // Init Channel C (TP19) to 0mV
	//Spi2_UpdateRxDac(DAC_CHANNEL_D, mVTo12bitDigitalOutput_Halfx(0)); // Init Channel D (TP21) to 0mV
	Spi2_UpdateRxDac(DAC_CHANNEL_E, mVTo12bitDigitalOutput_Halfx(0)); // Init Channel E (TP20) to 0mV
	//Spi2_UpdateRxDac(DAC_CHANNEL_F, mVTo12bitDigitalOutput_Halfx(0)); // Init Channel F (RXTUNE) to 0mV
	Spi2_UpdateRxDac(DAC_CHANNEL_G, mVTo12bitDigitalOutput_Halfx(2000)); // Init Channel G (RVCA1) to 2000mV
	//Spi2_UpdateRxDac(DAC_CHANNEL_H, mVTo12bitDigitalOutput_Halfx(0)); // Init Channel H (VTUNE) to 0mV

	// Enable the External Tx DAC's internal 2.5V reference voltage
	DeviceData[0] = 0x08;
	DeviceData[1] = 0x00;
	DeviceData[2] = 0x00;
	DeviceData[3] = 0x01;
	HAL_GPIO_WritePin(SPI3_NSS_TxDAC_GPIO_Port, SPI3_NSS_TxDAC_Pin, GPIO_PIN_RESET); // SPI3 CS -> TxDAC
	HAL_SPI_Transmit(&hspi3, (uint8_t *)DeviceData, 4, 100);
	HAL_GPIO_WritePin(SPI3_NSS_TxDAC_GPIO_Port, SPI3_NSS_TxDAC_Pin, GPIO_PIN_SET); // SPI3 CS -> TxDAC
	HAL_Delay(1); // Delay in milliseconds

	// --- Initialize External TxDAC Channels ---
	Spi3_UpdateTxDac(DAC_CHANNEL_A, mVTo12bitDigitalOutput_Halfx(5000)); // Bit 12 (PBA6; RxDAC-A) to 5000mV
	//Spi3_UpdateTxDac(DAC_CHANNEL_B, mVTo12bitDigitalOutput_Halfx(0)); // Init Channel B (MLIN) to 0mV
	Spi3_UpdateTxDac(DAC_CHANNEL_C, mVTo12bitDigitalOutput_Halfx(5000)); // Bit 11 (PBA5; RxDAC-C) to 5000mV
	//Spi3_UpdateTxDac(DAC_CHANNEL_D, mVTo12bitDigitalOutput_Halfx(0)); // Init Channel D (PBA0) to 0mV
	Spi3_UpdateTxDac(DAC_CHANNEL_E, mVTo12bitDigitalOutput_Halfx(5000)); // Bit 10 (PBA4; RxDAC-E) to 5000mV
	//Spi3_UpdateTxDac(DAC_CHANNEL_F, mVTo12bitDigitalOutput_Halfx(0)); // Init Channel F (PBA1) to 0mV
	//Spi3_UpdateTxDac(DAC_CHANNEL_G, mVTo12bitDigitalOutput_Halfx(0)); // Init Channel G (PBA3) to 0mV
	//Spi3_UpdateTxDac(DAC_CHANNEL_H, mVTo12bitDigitalOutput_Halfx(0)); // Init Channel H (PBA2) to 0mV
}

// Convert millivolts to 12 bit digital DAC register value and return the result.
uint32_t mVTo12bitDigitalOutput(uint32_t milliVolt){
	uint32_t TwelveBitDigitalOutput;

  /*			    _				 _
   * 			   |   D			  |
   * 		Vout = | ----- x G x Vref | + Vos = (0.0006103515625 * D)
   * 			   |_ 2^N			 _|
   *
   *		Where:
   *			D (Digital Input) = 12bit value
   *			N (bits of resolution) = 12
   *			G (gain) = 1
   *			Vref (Reference Voltage) = 2.5V
   *			Vos (Offset Voltage) = 0V
   * */

	TwelveBitDigitalOutput = (uint32_t)(((float)milliVolt / 0.6103515625)+0.5);

	if(TwelveBitDigitalOutput < 0){
		TwelveBitDigitalOutput = 0; // Vout Min = 0V
	}
	else if(TwelveBitDigitalOutput > 4095){
		TwelveBitDigitalOutput = 4095; // Vout Max = 2.5V
	}

	return TwelveBitDigitalOutput;
}

// Convert millivolts to 12 bit digital DAC register value and return the result.
uint32_t mVTo12bitDigitalOutput_Halfx(uint32_t milliVolt){
	uint32_t TwelveBitDigitalOutput;

	TwelveBitDigitalOutput = (uint32_t)(((float)milliVolt / 1.2207)+0.5);

	if(TwelveBitDigitalOutput < 0){
		TwelveBitDigitalOutput = 0; // Vout Min = 0V
	}
	else if(TwelveBitDigitalOutput > 4095){
		TwelveBitDigitalOutput = 4095; // Vout Max = 2.5V
	}

	return TwelveBitDigitalOutput;
}

///----------------------------------------------------------------------------
/// Method Name: Spi2_UpdateRxDac
/// Description: Update External Rx DAC with provided 12 bit digital DAC
///				 register value.
///					@arg DAC_CHANNEL_A: DAC Channel A selected -> TP18
///					@arg DAC_CHANNEL_B: DAC Channel B selected -> TP22
///					@arg DAC_CHANNEL_C: DAC Channel C selected -> TP19
///					@arg DAC_CHANNEL_D: DAC Channel D selected -> TP21
///					@arg DAC_CHANNEL_E: DAC Channel E selected -> TP20
///					@arg DAC_CHANNEL_F: DAC Channel F selected -> RXTUNE
///					@arg DAC_CHANNEL_G: DAC Channel G selected -> RVCA1
///					@arg DAC_CHANNEL_H: DAC Channel H selected -> VTUNE
///----------------------------------------------------------------------------
void Spi2_UpdateRxDac(ExternDacChannel_e Channel, uint16_t DacValue){
	char DeviceData[4];

	if(DacValue < 0){
		DacValue = 0; // Vout Min = 0V
	}
	else if(DacValue > 4095){
		DacValue = 4095; // Vout Max = 5.0V
	}

	DeviceData[0] = 0x03; // Control Bits = Write & Update DAC Ch
	DeviceData[1] = (Channel << 4) | ((DacValue & 0b111100000000) >> 8); // Mix: MSB = DAC ADDRESS; LSB = D11-D8
	DeviceData[2] = (DacValue & 0b000011111111); // LSB D7-D0
	DeviceData[3] = 0x00; // Don't Cares
	HAL_GPIO_WritePin(SPI2_NSS_RxDAC_GPIO_Port, SPI2_NSS_RxDAC_Pin, GPIO_PIN_RESET); // SPI2 CS -> RxDAC
	HAL_SPI_Transmit(&hspi2, (uint8_t *)DeviceData, 4, 100);
	HAL_GPIO_WritePin(SPI2_NSS_RxDAC_GPIO_Port, SPI2_NSS_RxDAC_Pin, GPIO_PIN_SET); // SPI2 CS -> RxDAC
	HAL_Delay(1); // Delay in milliseconds

	// Enable the External Rx DAC's internal 2.5V reference voltage
	DeviceData[0] = 0x08;
	DeviceData[1] = 0x00;
	DeviceData[2] = 0x00;
	DeviceData[3] = 0x01;
	HAL_GPIO_WritePin(SPI2_NSS_RxDAC_GPIO_Port, SPI2_NSS_RxDAC_Pin, GPIO_PIN_RESET); // SPI2 CS -> RxDAC
	HAL_SPI_Transmit(&hspi2, (uint8_t *)DeviceData, 4, 100);
	HAL_GPIO_WritePin(SPI2_NSS_RxDAC_GPIO_Port, SPI2_NSS_RxDAC_Pin, GPIO_PIN_SET); // SPI2 CS -> RxDAC
	HAL_Delay(1); // Delay in milliseconds
}

///----------------------------------------------------------------------------
/// Method Name: Spi3_UpdateTxDac
/// Description: Update External Tx DAC with provided 12 bit digital DAC
///							 register value.
///					@arg DAC_CHANNEL_A: DAC Channel A selected -> PAB6
///					@arg DAC_CHANNEL_B: DAC Channel B selected -> MLIN
///					@arg DAC_CHANNEL_C: DAC Channel C selected -> PAB5
///					@arg DAC_CHANNEL_D: DAC Channel D selected -> PAB0
///					@arg DAC_CHANNEL_E: DAC Channel E selected -> PAB4
///					@arg DAC_CHANNEL_F: DAC Channel F selected -> PAB1
///					@arg DAC_CHANNEL_G: DAC Channel G selected -> PAB3
///					@arg DAC_CHANNEL_H: DAC Channel H selected -> PAB2
///----------------------------------------------------------------------------
void Spi3_UpdateTxDac(ExternDacChannel_e Channel, uint16_t DacValue){
	char DeviceData[4];

	if(DacValue < 0){
		DacValue = 0; // Vout Min = 0V
	}
	else if(DacValue > 4095){
		DacValue = 4095; // Vout Max = 2.5V
	}

	DeviceData[0] = 0x03; // Control Bits = Write & Update DAC Ch
	DeviceData[1] = (Channel << 4) | ((DacValue & 0b111100000000) >> 8); // Mix: MSB = DAC ADDRESS; LSB = D11-D8
	DeviceData[2] = (DacValue & 0b000011111111); // LSB D7-D0
	DeviceData[3] = 0x00; // Don't Cares
	HAL_GPIO_WritePin(SPI3_NSS_TxDAC_GPIO_Port, SPI3_NSS_TxDAC_Pin, GPIO_PIN_RESET); // SPI3 CS -> TxDAC
	HAL_SPI_Transmit(&hspi3, (uint8_t *)DeviceData, 4, 100);
	HAL_GPIO_WritePin(SPI3_NSS_TxDAC_GPIO_Port, SPI3_NSS_TxDAC_Pin, GPIO_PIN_SET); // SPI3 CS -> TxDAC
	HAL_Delay(1); // Delay in milliseconds

	// Enable the External Tx DAC's internal 2.5V reference voltage
	DeviceData[0] = 0x08;
	DeviceData[1] = 0x00;
	DeviceData[2] = 0x00;
	DeviceData[3] = 0x01;
	HAL_GPIO_WritePin(SPI3_NSS_TxDAC_GPIO_Port, SPI3_NSS_TxDAC_Pin, GPIO_PIN_RESET); // SPI3 CS -> TxDAC
	HAL_SPI_Transmit(&hspi3, (uint8_t *)DeviceData, 4, 100);
	HAL_GPIO_WritePin(SPI3_NSS_TxDAC_GPIO_Port, SPI3_NSS_TxDAC_Pin, GPIO_PIN_SET); // SPI3 CS -> TxDAC
	HAL_Delay(1); // Delay in milliseconds
}

/* USER CODE END 4 */

void HAL_TIM_PeriodElapsedCallback(TIM_HandleTypeDef *htim)
{
  if (htim->Instance == TIM3) {
    HAL_IncTick();
  }
}

void Error_Handler(void)
{
  __disable_irq();
  while (1)
  {
  }
}
